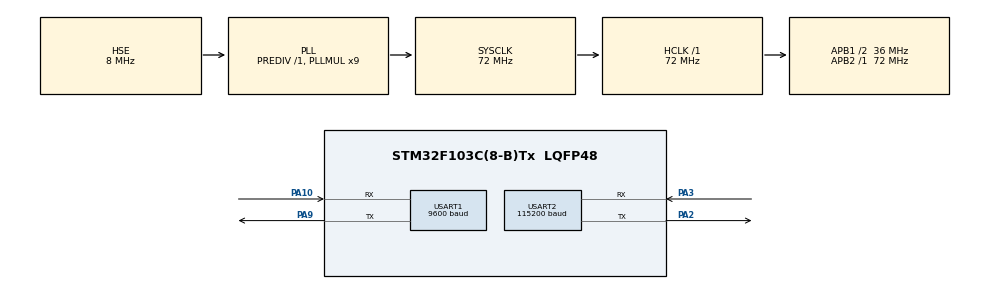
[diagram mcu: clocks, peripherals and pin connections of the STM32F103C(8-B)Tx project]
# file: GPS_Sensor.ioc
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Mcu.Family=STM32F1
Mcu.Name=STM32F103C(8-B)Tx
Mcu.Package=LQFP48
NVIC.PriorityGroup=NVIC_PRIORITYGROUP_4
NVIC.USART1_IRQn=true\:0\:0\:false\:false\:true\:true\:true\:true
NVIC.USART2_IRQn=true\:0\:0\:false\:false\:true\:true\:true\:true
PA10.Mode=Asynchronous
PA10.Signal=USART1_RX
PA13.Mode=Serial_Wire
PA13.Signal=SYS_JTMS-SWDIO
PA14.Mode=Serial_Wire
PA14.Signal=SYS_JTCK-SWCLK
PA2.Mode=Asynchronous
PA2.Signal=USART2_TX
PA3.Mode=Asynchronous
PA3.Signal=USART2_RX
PA9.Mode=Asynchronous
PA9.Signal=USART1_TX
PD0-OSC_IN.Mode=HSE-External-Oscillator
PD0-OSC_IN.Signal=RCC_OSC_IN
PD1-OSC_OUT.Mode=HSE-External-Oscillator
PD1-OSC_OUT.Signal=RCC_OSC_OUT
ProjectManager.HeapSize=0x200
ProjectManager.StackSize=0x400
ProjectManager.TargetToolchain=STM32CubeIDE
RCC.AHBFreq_Value=72000000
RCC.APB1CLKDivider=RCC_HCLK_DIV2
RCC.APB1Freq_Value=36000000
RCC.APB1TimFreq_Value=72000000
RCC.APB2Freq_Value=72000000
RCC.APB2TimFreq_Value=72000000
RCC.HCLKFreq_Value=72000000
RCC.PLLMUL=RCC_PLL_MUL9
RCC.PLLSourceVirtual=RCC_PLLSOURCE_HSE
RCC.SYSCLKFreq_VALUE=72000000
RCC.SYSCLKSource=RCC_SYSCLKSOURCE_PLLCLK
RCC.USBFreq_Value=72000000
USART1.BaudRate=9600
USART1.VirtualMode=VM_ASYNC
USART2.BaudRate=115200
USART2.VirtualMode=VM_ASYNC
board=custom

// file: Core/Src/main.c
/* USER CODE BEGIN Header */
/**
  ******************************************************************************
  * @file           : main.c
  * @brief          : Main program body
  ******************************************************************************
  * @attention
  *
  * Copyright (c) 2023 STMicroelectronics.
  * All rights reserved.
  *
  * This software is licensed under terms that can be found in the LICENSE file
  * in the root directory of this software component.
  * If no LICENSE file comes with this software, it is provided AS-IS.
  *
  ******************************************************************************
  */
/* USER CODE END Header */
#include <EKF.h>
#include "main.h"
#include "usart.h"
#include "gpio.h"

/* USER CODE BEGIN Includes */
#include "GPS.h"
#include <stdint.h>
#include "GPS_Handle.h"
/* USER CODE END Includes */

void SystemClock_Config(void);

/* USER CODE BEGIN 0 */
char GGA[100];
char RMC[100];
GPSSTRUCT gpsData;
int flagGGA = 0, flagRMC = 0;
char Buffer [50];

int VCCTimeout = 5000; // GGA or RMC will not be received if the VCC is not sufficient
/* USER CODE END 0 */

int main(void)
{

  /* MCU Configuration--------------------------------------------------------*/

  /* Reset of all peripherals, Initializes the Flash interface and the Systick. */
  HAL_Init();

  /* Configure the system clock */
  SystemClock_Config();

  /* Initialize all configured peripherals */
  MX_GPIO_Init();
  MX_USART1_UART_Init();
  MX_USART2_UART_Init();
  /* USER CODE BEGIN 2 */
  Ringbuf_init();
  HAL_Delay(500);
  //GPS GPS;
  EKF EKF;
  Input Input;
  Angle Angle;
  EKF_Init(&EKF,&Input);
  //GPS_Init(&GPS);
	//find covariance
  /* USER CODE END 2 */

  /* Infinite loop */
  while (1)
  {

    /* USER CODE BEGIN 3 */
//	  if (Wait_for("GGA") == 1)
//		  {
//			  VCCTimeout = 5000;  // Reset the VCC Timeout indicating the GGA is being received
//			  Copy_upto("*", GGA);
//			  if (decodeGGA(GGA, &gpsData.ggastruct) == 0) flagGGA = 2;  // 2 indicates the data is valid
//			  else flagGGA = 1;  // 1 indicates the data is invalid
//		  }
//		  if (Wait_for("RMC") == 1)
//		  {
//
//			  VCCTimeout = 5000;  // Reset the VCC Timeout indicating the RMC is being received
//			  Copy_upto("*", RMC);
//			  if (decodeRMC(RMC, &gpsData.rmcstruct) == 0) flagRMC = 2;  // 2 indicates the data is valid
//			  else flagRMC = 1;  // 1 indicates the data is invalid
//		  }
//	  if ((flagGGA == 2) | (flagRMC == 2))
//	 	  {
//	 		  sprintf (Buffer, "%.6f %c\r\n, %.6f%c\r\n  ", gpsData.ggastruct.lcation.latitude, gpsData.ggastruct.lcation.NS,\
//	 				  gpsData.ggastruct.lcation.longitude, gpsData.ggastruct.lcation.EW);
//	 		  HAL_UART_Transmit(&huart2,(uint8_t*) Buffer, sizeof(Buffer), HAL_MAX_DELAY);
//	  }

	  	 		  	  	  	  EKF_PredictionStep(&EKF,&Angle,&Input);
	  	 					//  EFK_GPSHandleMeasurement(&GPS,&EKF);
	  	 					  sprintf (Buffer, "%.6f\r\n %.6f\r\n  " ,EKF.FirPx,
	  	 							  EKF.FirPy);
	  	 					  HAL_UART_Transmit(&huart2,(uint8_t*) Buffer, sizeof(Buffer), HAL_MAX_DELAY);
	  	 					  HAL_Delay(1000);
  }
  /* USER CODE END 3 */
}

void SystemClock_Config(void)
{
  RCC_OscInitTypeDef RCC_OscInitStruct = {0};
  RCC_ClkInitTypeDef RCC_ClkInitStruct = {0};

  /** Initializes the RCC Oscillators according to the specified parameters
  * in the RCC_OscInitTypeDef structure.
  */
  RCC_OscInitStruct.OscillatorType = RCC_OSCILLATORTYPE_HSE;
  RCC_OscInitStruct.HSEState = RCC_HSE_ON;
  RCC_OscInitStruct.HSEPredivValue = RCC_HSE_PREDIV_DIV1;
  RCC_OscInitStruct.HSIState = RCC_HSI_ON;
  RCC_OscInitStruct.PLL.PLLState = RCC_PLL_ON;
  RCC_OscInitStruct.PLL.PLLSource = RCC_PLLSOURCE_HSE;
  RCC_OscInitStruct.PLL.PLLMUL = RCC_PLL_MUL9;
  if (HAL_RCC_OscConfig(&RCC_OscInitStruct) != HAL_OK)
  {
    Error_Handler();
  }

  /** Initializes the CPU, AHB and APB buses clocks
  */
  RCC_ClkInitStruct.ClockType = RCC_CLOCKTYPE_HCLK|RCC_CLOCKTYPE_SYSCLK
                              |RCC_CLOCKTYPE_PCLK1|RCC_CLOCKTYPE_PCLK2;
  RCC_ClkInitStruct.SYSCLKSource = RCC_SYSCLKSOURCE_PLLCLK;
  RCC_ClkInitStruct.AHBCLKDivider = RCC_SYSCLK_DIV1;
  RCC_ClkInitStruct.APB1CLKDivider = RCC_HCLK_DIV2;
  RCC_ClkInitStruct.APB2CLKDivider = RCC_HCLK_DIV1;

  if (HAL_RCC_ClockConfig(&RCC_ClkInitStruct, FLASH_LATENCY_2) != HAL_OK)
  {
    Error_Handler();
  }
}

void Error_Handler(void)
{
  __disable_irq();
  while (1)
  {
  }
}
